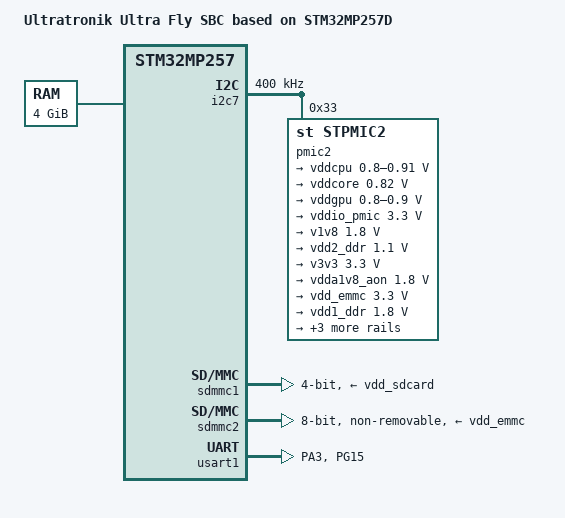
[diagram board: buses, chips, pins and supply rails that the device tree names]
// SPDX-License-Identifier: (GPL-2.0-or-later OR BSD-3-Clause)
/*
 * Copyright (C) 2025, Ultratronik GmbH
 * Copyright (C) STMicroelectronics 2025 - All Rights Reserved
 * Author: Boerge Struempfel <boerge.struempfel@gmail.com> for Ultratronik GmbH.
 */

/dts-v1/;

#include <dt-bindings/clock/stm32mp25-clksrc.h>
#include "stm32mp257.dtsi"
#include "stm32mp257d-ultra-fly-sbc-ca35tdcid-rcc.dtsi"
#include "stm32mp25-lpddr4-2x16Gbits-32bits-1200MHz.dtsi"
#include "stm32mp25-pinctrl.dtsi"
#include "stm32mp25xxak-pinctrl.dtsi"

/ {
	model = "Ultratronik Ultra Fly SBC based on STM32MP257D";
	compatible = "st,stm32mp257d-ultra-fly-sbc", "st,stm32mp257";

	aliases {
		serial0 = &usart1;
	};

	chosen {
		stdout-path = "serial0:115200n8";
	};

	memory@80000000 {
		device_type = "memory";
		reg = <0x0 0x80000000 0x1 0x00000000>;
	};
};

&ddr {
	vdd1-supply = <&vdd1_ddr>;
	vdd2-supply = <&vdd2_ddr>;
	vddq-supply = <&vdd2_ddr>;
};

&i2c7 {
	pinctrl-names = "default";
	pinctrl-0 = <&i2c7_pins_a>;
	i2c-scl-rising-time-ns = <185>;
	i2c-scl-falling-time-ns = <20>;
	clock-frequency = <400000>;
	status = "okay";
	#address-cells = <1>;
	#size-cells = <0>;

	pmic2: stpmic@33 {
		compatible = "st,stpmic2";
		reg = <0x33>;
		status = "okay";

		regulators {
			compatible = "st,stpmic2-regulators";

			vddcpu: buck1 {
				regulator-name = "vddcpu";
				regulator-min-microvolt = <800000>;
				regulator-max-microvolt = <910000>;
				regulator-always-on;
			};
			vddcore: buck2 {
				regulator-name = "vddcore";
				regulator-min-microvolt = <820000>;
				regulator-max-microvolt = <820000>;
				regulator-always-on;
			};
			vddgpu: buck3 {
				regulator-name = "vddgpu";
				regulator-min-microvolt = <800000>;
				regulator-max-microvolt = <900000>;
				regulator-always-on;
			};
			vddio_pmic: buck4 {
				regulator-name = "vddio_pmic";
				regulator-min-microvolt = <3300000>;
				regulator-max-microvolt = <3300000>;
				regulator-always-on;
			};
			v1v8: buck5 {
				regulator-name = "v1v8";
				regulator-min-microvolt = <1800000>;
				regulator-max-microvolt = <1800000>;
				regulator-always-on;
			};
			vdd2_ddr: buck6 {
				regulator-name = "vdd2_ddr";
				regulator-min-microvolt = <1100000>;
				regulator-max-microvolt = <1100000>;
			};
			v3v3: buck7 {
				regulator-name = "v3v3";
				regulator-min-microvolt = <3300000>;
				regulator-max-microvolt = <3300000>;
				regulator-always-on;
			};
			vdda1v8_aon: ldo1 {
				regulator-name = "vdda1v8_aon";
				regulator-min-microvolt = <1800000>;
				regulator-max-microvolt = <1800000>;
				regulator-always-on;
			};
			vdd_emmc: ldo2 {
				regulator-name = "vdd_emmc";
				regulator-min-microvolt = <3300000>;
				regulator-max-microvolt = <3300000>;
				regulator-always-on;
			};
			vdd1_ddr: ldo3 {
				regulator-name = "vdd1_ddr";
				regulator-min-microvolt = <1800000>;
				regulator-max-microvolt = <1800000>;
				regulator-enable-ramp-delay = <1000>;
			};
			vdd3v3_usb: ldo4 {
				regulator-name = "vdd3v3_usb";
				regulator-min-microvolt = <3300000>;
				regulator-max-microvolt = <3300000>;
				regulator-always-on;
			};
			vdd_sdcard: ldo7 {
				regulator-name = "vdd_sdcard";
				regulator-min-microvolt = <3300000>;
				regulator-max-microvolt = <3300000>;
				regulator-always-on;
			};
			vddio_sdcard: ldo8 {
				regulator-name = "vddio_sdcard";
				st,regulator-bypass-microvolt = <3300000>;
				regulator-min-microvolt = <1800000>;
				regulator-max-microvolt = <3300000>;
				regulator-always-on;
			};
		};
	};
};

&pwr {
	vddio1: vddio1 {
		vddio1-supply = <&vddio_sdcard>;
	};
	vddio2: vddio2 {
		vddio2-supply = <&v1v8>;
	};
	vddio3: vddio3 {
		vddio3-supply = <&vddio_pmic>;
	};
	vddio4: vddio4 {
		vddio4-supply = <&vddio_pmic>;
	};
	vddio: vddio {
		vdd-supply = <&vddio_pmic>;
	};
};

&sdmmc1 {
	pinctrl-names = "default";
	pinctrl-0 = <&sdmmc1_b4_pins_a>;
	st,neg-edge;
	bus-width = <4>;
	vmmc-supply = <&vdd_sdcard>;
	vqmmc-supply = <&vddio1>;
	status = "okay";
};

&sdmmc2 {
	pinctrl-names = "default";
	pinctrl-0 = <&sdmmc2_b4_pins_a &sdmmc2_d47_pins_a>;
	non-removable;
	no-sd;
	no-sdio;
	st,neg-edge;
	bus-width = <8>;
	vmmc-supply = <&vdd_emmc>;
	vqmmc-supply = <&vddio2>;
	status = "okay";
};

&usart1 {
	pinctrl-names = "default";
	pinctrl-0 = <&usart1_pins_a>;
	status = "okay";
};

&pinctrl {
	usart1_pins_a: usart1-0 {
		pins1 {
			pinmux = <STM32_PINMUX('A', 3, AF6)>; /* USART1_TX */
			bias-disable;
			drive-push-pull;
			slew-rate = <0>;
		};
		pins2 {
			pinmux = <STM32_PINMUX('G', 15, AF6)>; /* USART1_RX */
			bias-disable;
		};
	};
};
